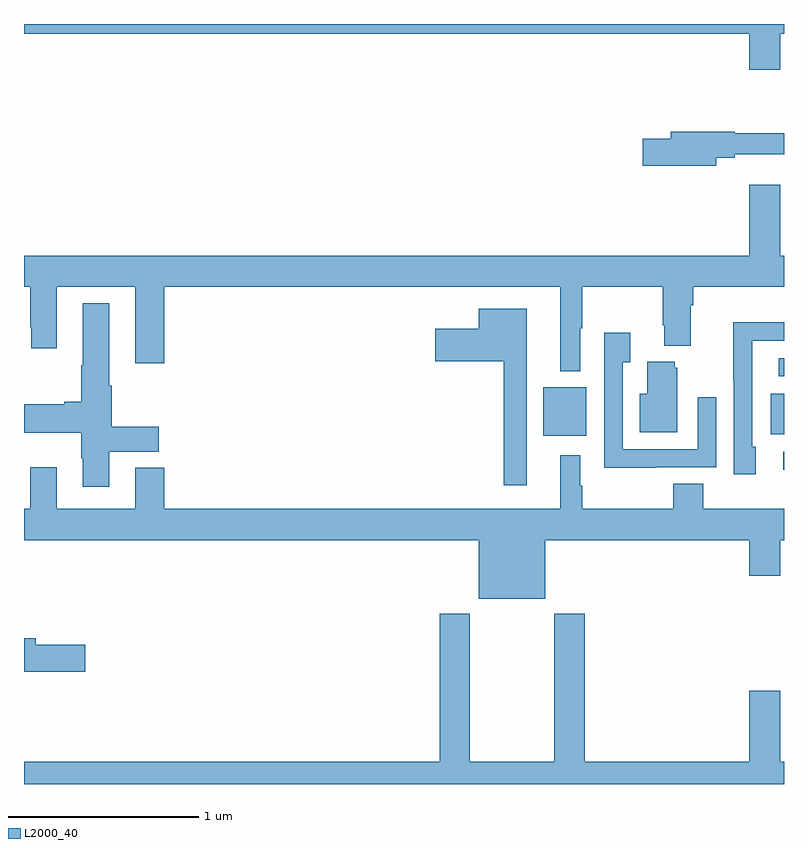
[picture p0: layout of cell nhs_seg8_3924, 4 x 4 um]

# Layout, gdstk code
import gdstk
lib = gdstk.Library(unit=1e-6, precision=1e-09)
def R(c, l, rs):  # rectangles x0, y0, x1, y1
    for r in rs: c.add(gdstk.rectangle(r[:2], r[2:], *l))
def P(c, l, *ps):  # polygons
    for p in ps: c.add(gdstk.Polygon(p, *l))
L2000_40 = (2000, 40)

nhs_seg8_3924 = lib.new_cell('nhs_seg8_3924')
R(nhs_seg8_3924, L2000_40, [(356.997,1099.553,357,1099.65), (355.733,1099.733,355.96,1099.987), (356.93,1099.742,357,1099.954), (356.973,1100.046,357,1100.142)])
P(nhs_seg8_3924, L2000_40, [(356.98,1101.848),(357,1101.848),(357,1101.9),(353,1101.9),(353,1101.848),(356.816,1101.848),(356.816,1101.66),(356.98,1101.66)],
  [(356.644,1101.196),(356.74,1101.196),(356.74,1101.215),(357,1101.215),(357,1101.325),(356.74,1101.325),(356.74,1101.332),(356.405,1101.332),(356.405,1101.296),(356.256,1101.296),(356.256,1101.154),(356.644,1101.154)],
  [(355.927,1100.3),(355.937,1100.3),(355.937,1100.516),(356.362,1100.516),(356.362,1100.314),(356.369,1100.314),(356.369,1100.207),(356.509,1100.207),(356.509,1100.42),(356.522,1100.42),(356.522,1100.516),(357,1100.516),(357,1100.68),(356.98,1100.68),(356.98,1101.055),(356.816,1101.055),(356.816,1100.68),(353,1100.68),(353,1100.516),(353.033,1100.516),(353.033,1100.305),(353.037,1100.305),(353.037,1100.193),(353.173,1100.193),(353.173,1100.516),(353.585,1100.516),(353.585,1100.115),(353.738,1100.115),(353.738,1100.516),(355.823,1100.516),(355.823,1100.072),(355.927,1100.072)],
  [(353.449,1099.649),(353.71,1099.649),(353.71,1099.779),(353.462,1099.779),(353.462,1099.996),(353.449,1099.996),(353.449,1100.431),(353.309,1100.431),(353.309,1100.105),(353.302,1100.105),(353.302,1099.913),(353.213,1099.913),(353.213,1099.9),(353,1099.9),(353,1099.748),(353.302,1099.748),(353.302,1099.614),(353.309,1099.614),(353.309,1099.464),(353.449,1099.464)],
  [(355.645,1100.401),(355.394,1100.401),(355.394,1100.296),(355.164,1100.296),(355.164,1100.126),(355.524,1100.126),(355.524,1099.473),(355.645,1099.473)],
  [(356.851,1099.674),(356.832,1099.674),(356.832,1100.011),(356.833,1100.011),(356.833,1100.232),(357,1100.232),(357,1100.33),(356.734,1100.33),(356.734,1100.023),(356.736,1100.023),(356.736,1099.53),(356.851,1099.53)],
  [(356.327,1099.566),(356.643,1099.566),(356.643,1099.936),(356.547,1099.936),(356.547,1099.662),(356.151,1099.662),(356.151,1100.119),(356.191,1100.119),(356.191,1100.275),(356.055,1100.275),(356.055,1099.565),(356.327,1099.565)],
  [(356.437,1100.091),(356.426,1100.091),(356.426,1100.122),(356.279,1100.122),(356.279,1099.954),(356.24,1099.954),(356.24,1099.751),(356.437,1099.751)],
  [(355.744,1099.184),(356.816,1099.184),(356.816,1098.996),(356.98,1098.996),(356.98,1099.184),(357,1099.184),(357,1099.348),(356.576,1099.348),(356.576,1099.481),(356.416,1099.481),(356.416,1099.348),(355.937,1099.348),(355.937,1099.469),(355.927,1099.469),(355.927,1099.63),(355.823,1099.63),(355.823,1099.348),(353.738,1099.348),(353.738,1099.564),(353.585,1099.564),(353.585,1099.348),(353.173,1099.348),(353.173,1099.567),(353.033,1099.567),(353.033,1099.348),(353,1099.348),(353,1099.184),(355.394,1099.184),(355.394,1098.875),(355.744,1098.875)],
  [(355.792,1098.016),(355.347,1098.016),(355.347,1098.796),(355.187,1098.796),(355.187,1098.016),(353,1098.016),(353,1097.9),(357,1097.9),(357,1098.016),(356.98,1098.016),(356.98,1098.391),(356.816,1098.391),(356.816,1098.016),(355.952,1098.016),(355.952,1098.796),(355.792,1098.796)],
  [(353.323,1098.632),(353.062,1098.632),(353.062,1098.668),(353,1098.668),(353,1098.49),(353.323,1098.49)])

lib.write_gds('nhs_seg8_3924.gds')
